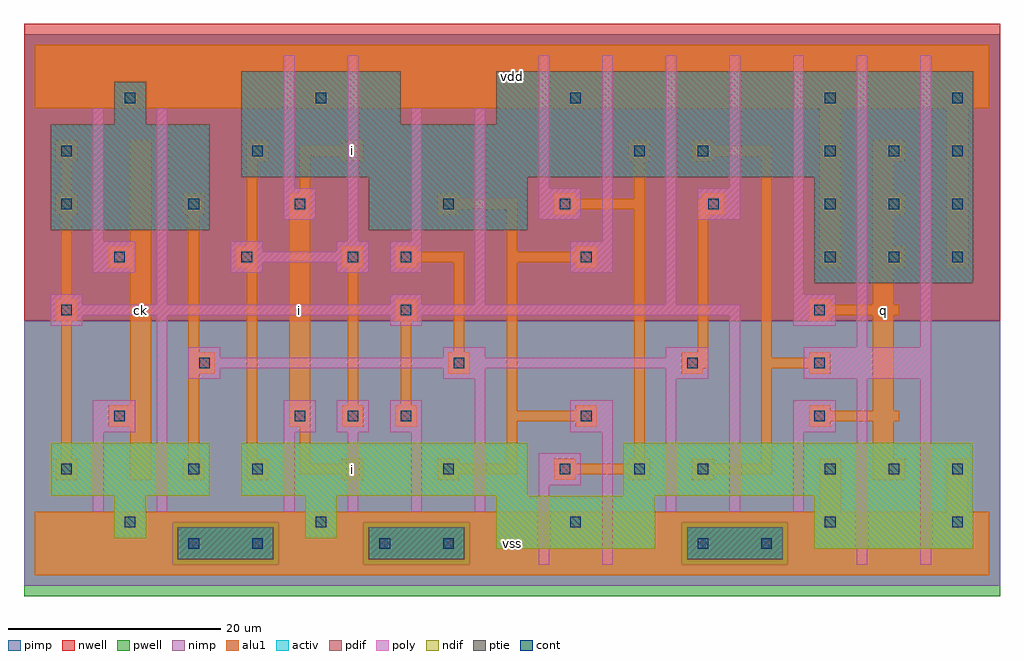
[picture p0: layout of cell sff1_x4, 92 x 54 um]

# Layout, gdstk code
import gdstk
lib = gdstk.Library(unit=1e-6, precision=1e-09)
def R(c, l, rs):  # rectangles x0, y0, x1, y1
    for r in rs: c.add(gdstk.rectangle(r[:2], r[2:], *l))
def A(c, l, x, y, w, h, nx, ny, dx, dy):  # array of equal rectangles
    R(c, l, [(x+i*dx, y+j*dy, x+i*dx+w, y+j*dy+h) for i in range(nx) for j in range(ny)])
ndif = (3, 0)
pdif = (4, 0)
ptie = (6, 0)
cont = (25, 0)
pwell = (41, 0)
nwell = (42, 0)
activ = (43, 0)
pimp = (44, 0)
nimp = (45, 0)
poly = (46, 0)
alu1 = (49, 0)

sff1_x4 = lib.new_cell('sff1_x4')
R(sff1_x4, ndif, [(43.5,2.5,58.5,7.5), (73.5,2.5,88.5,7.5), (7.5,3.5,10.5,7.5), (25.5,3.5,28.5,7.5), (1.5,7.5,16.5,12.5), (19.5,7.5,46.5,12.5), (55.5,7.5,88.5,12.5)])
R(sff1_x4, pdif, [(73.5,27.5,88.5,37.5), (1.5,32.5,16.5,42.5), (31.5,32.5,46.5,37.5), (19.5,37.5,88.5,42.5), (7.5,42.5,10.5,46.5), (19.5,42.5,34.5,47.5), (43.5,42.5,88.5,47.5)])
R(sff1_x4, ptie, [(13.5,1.5,22.5,4.5), (31.5,1.5,40.5,4.5), (61.5,1.5,70.5,4.5)])
A(sff1_x4, cont, 26.5, 4.5, 1, 1, 3, 2, 24, 40)
A(sff1_x4, cont, 74.5, 9.5, 1, 1, 3, 2, 6, 20)
A(sff1_x4, cont, 24.5, 14.5, 1, 1, 3, 1, 5, 0)
A(sff1_x4, cont, 73.5, 14.5, 1, 1, 1, 3, 0, 5)
A(sff1_x4, cont, 74.5, 34.5, 1, 1, 3, 2, 6, 5)
R(sff1_x4, cont, [(14.5,2.5,15.5,3.5), (20.5,2.5,21.5,3.5), (32.5,2.5,33.5,3.5), (38.5,2.5,39.5,3.5), (62.5,2.5,63.5,3.5), (68.5,2.5,69.5,3.5), (8.5,4.5,9.5,5.5), (86.5,4.5,87.5,5.5), (2.5,9.5,3.5,10.5), (14.5,9.5,15.5,10.5), (20.5,9.5,21.5,10.5), (38.5,9.5,39.5,10.5), (49.5,9.5,50.5,10.5), (56.5,9.5,57.5,10.5), (62.5,9.5,63.5,10.5), (7.5,14.5,8.5,15.5), (51.5,14.5,52.5,15.5), (15.5,19.5,16.5,20.5), (39.5,19.5,40.5,20.5), (61.5,19.5,62.5,20.5), (2.5,24.5,3.5,25.5), (34.5,24.5,35.5,25.5), (7.5,29.5,8.5,30.5), (19.5,29.5,20.5,30.5), (29.5,29.5,30.5,30.5), (34.5,29.5,35.5,30.5), (51.5,29.5,52.5,30.5), (2.5,34.5,3.5,35.5), (14.5,34.5,15.5,35.5), (24.5,34.5,25.5,35.5), (38.5,34.5,39.5,35.5), (49.5,34.5,50.5,35.5), (63.5,34.5,64.5,35.5), (2.5,39.5,3.5,40.5), (20.5,39.5,21.5,40.5), (56.5,39.5,57.5,40.5), (62.5,39.5,63.5,40.5), (8.5,44.5,9.5,45.5), (86.5,44.5,87.5,45.5)])
R(sff1_x4, pwell, [(-1,-2,91,24)])
R(sff1_x4, nwell, [(-1,24,91,52)])
R(sff1_x4, activ, [(13.5,1.5,22.5,4.5), (31.5,1.5,40.5,4.5), (61.5,1.5,70.5,4.5), (43.5,2.5,58.5,7.5), (73.5,2.5,88.5,7.5), (7.5,3.5,10.5,7.5), (25.5,3.5,28.5,7.5), (1.5,7.5,16.5,12.5), (19.5,7.5,46.5,12.5), (55.5,7.5,88.5,12.5), (73.5,27.5,88.5,37.5), (1.5,32.5,16.5,42.5), (31.5,32.5,46.5,37.5), (19.5,37.5,88.5,42.5), (7.5,42.5,10.5,46.5), (19.5,42.5,34.5,47.5), (43.5,42.5,88.5,47.5)])
R(sff1_x4, pimp, [(13,1,23,5), (31,1,41,5), (61,1,71,5), (-1,24,91,51)])
R(sff1_x4, nimp, [(-1,-1,91,1), (-1,1,13,5), (23,1,31,5), (41,1,61,5), (71,1,91,5), (-1,5,91,24)])
A(sff1_x4, poly, 23.5, 6, 1, 7.5, 3, 1, 6, 0)
A(sff1_x4, poly, 23.5, 13.5, 3, 3, 3, 1, 5, 0)
R(sff1_x4, poly, [(47.5,1,48.5,8.5), (53.5,1,54.5,13.5), (77.5,1,78.5,18.5), (83.5,1,84.5,18.5), (5.5,6,6.5,13.5), (11.5,6,12.5,24.5), (41.5,6,42.5,18.5), (59.5,6,60.5,18.5), (65.5,6,66.5,24.5), (71.5,6,72.5,13.5), (47.5,8.5,51.5,11.5), (5.5,13.5,9.5,16.5), (50.5,13.5,54.5,16.5), (71.5,13.5,75.5,16.5), (14.5,18.5,17.5,19.5), (38.5,18.5,42.5,19.5), (59.5,18.5,63.5,19.5), (72.5,18.5,84.5,21.5), (14.5,19.5,63.5,20.5), (14.5,20.5,17.5,21.5), (38.5,20.5,42.5,21.5), (59.5,20.5,63.5,21.5), (77.5,21.5,78.5,49), (83.5,21.5,84.5,49), (1.5,23.5,4.5,24.5), (33.5,23.5,36.5,24.5), (71.5,23.5,75.5,26.5), (1.5,24.5,66.5,25.5), (1.5,25.5,4.5,26.5), (11.5,25.5,12.5,44), (33.5,25.5,36.5,26.5), (41.5,25.5,42.5,44), (59.5,25.5,60.5,49), (71.5,26.5,72.5,49), (5.5,28.5,9.5,31.5), (18.5,28.5,21.5,29.5), (28.5,28.5,31.5,29.5), (33.5,28.5,36.5,31.5), (50.5,28.5,54.5,31.5), (18.5,29.5,31.5,30.5), (18.5,30.5,21.5,31.5), (28.5,30.5,31.5,31.5), (5.5,31.5,6.5,44), (29.5,31.5,30.5,49), (35.5,31.5,36.5,44), (53.5,31.5,54.5,49), (23.5,33.5,26.5,36.5), (47.5,33.5,51.5,36.5), (62.5,33.5,66.5,36.5), (23.5,36.5,24.5,49), (47.5,36.5,48.5,49), (65.5,36.5,66.5,49)])
A(sff1_x4, alu1, 79, 29, 3, 2, 1, 3, 0, 5)
R(sff1_x4, alu1, [(0,0,90,6), (74,6,76,11), (86,6,88,11), (2,9,4,11), (9,9,11,14), (14,9,16,11), (20,9,22,11), (29,9,31,9.5), (38,9,40,9.5), (49,9,51,9.5), (56,9,58,9.5), (62,9,64,9.5), (79,9,82,11), (25,9.5,31,10.5), (38,9.5,45.5,10.5), (49,9.5,58,10.5), (62,9.5,69.5,10.5), (25,10.5,26,14), (29,10.5,31,11), (38,10.5,40,11), (44.5,10.5,45.5,14.5), (49,10.5,51,11), (56,10.5,58,11), (62,10.5,64,11), (68.5,10.5,69.5,19.5), (2.5,11,3.5,24), (14.5,11,15.5,19), (20,11,21,29), (56.5,11,57.5,34.5), (79,11,81,14.5), (7,14,11,16), (24,14,26,36), (29,14,31,16), (34,14,36,16), (51,14,53,14.5), (73,14,75,14.5), (44.5,14.5,53,15.5), (73,14.5,81.5,15.5), (44.5,15.5,45.5,29.5), (51,15.5,53,16), (73,15.5,75,16), (79,15.5,81,24.5), (9,16,11,29), (29.5,16,30.5,29), (34.5,16,35.5,24), (14.5,19,17,21), (39,19,41,21), (61,19,63,19.5), (73,19,75,19.5), (61,19.5,63.5,21), (68.5,19.5,75,20.5), (68.5,20.5,69.5,39.5), (73,20.5,75,21), (14.5,21,15.5,34), (39.5,21,40.5,29.5), (62.5,21,63.5,34), (2,24,4,26), (34,24,36,26), (73,24,75,24.5), (73,24.5,81.5,25.5), (73,25.5,75,26), (79,25.5,81,29), (2.5,26,3.5,34), (7,29,11,31), (19,29,21,31), (29,29,31,31), (34,29,36,29.5), (51,29,53,29.5), (74,29,76,44), (86,29,88,44), (34,29.5,40.5,30.5), (44.5,29.5,53,30.5), (34,30.5,36,31), (44.5,30.5,45.5,34.5), (51,30.5,53,31), (9,31,11,41), (20,31,21,39), (79,31,81,34), (2,34,4,36), (14,34,16,36), (38,34,40,34.5), (49,34,51,34.5), (62.5,34,65,35.5), (38,34.5,45.5,35.5), (49,34.5,57.5,35.5), (38,35.5,40,36), (49,35.5,51,36), (56.5,35.5,57.5,39), (63,35.5,65,36), (2.5,36,3.5,39), (25,36,26,39.5), (79,36,81,39), (2,39,4,41), (20,39,22,41), (29,39,31,39.5), (56,39,58,41), (62,39,64,39.5), (25,39.5,31,40.5), (62,39.5,69.5,40.5), (29,40.5,31,41), (62,40.5,64,41), (0,44,90,50)])
sff1_x4.add(gdstk.Label('ck', (10,25), layer=49, texttype=0))
sff1_x4.add(gdstk.Label('i', (30,10), layer=49, texttype=0))
sff1_x4.add(gdstk.Label('i', (25,25), layer=49, texttype=0))
sff1_x4.add(gdstk.Label('i', (30,40), layer=49, texttype=0))
sff1_x4.add(gdstk.Label('vss', (45,3), layer=49, texttype=0))
sff1_x4.add(gdstk.Label('vdd', (45,47), layer=49, texttype=0))
sff1_x4.add(gdstk.Label('q', (80,25), layer=49, texttype=0))

lib.write_gds('sff1_x4.gds')
